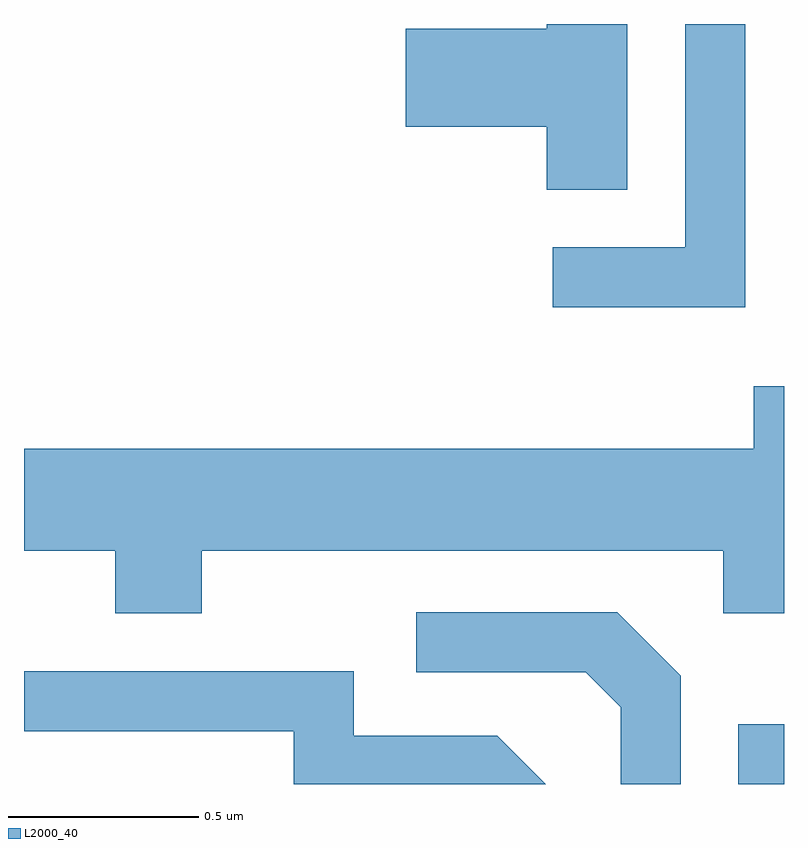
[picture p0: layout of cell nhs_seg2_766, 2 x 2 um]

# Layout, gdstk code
import gdstk
lib = gdstk.Library(unit=1e-6, precision=1e-09)
def R(c, l, rs):  # rectangles x0, y0, x1, y1
    for r in rs: c.add(gdstk.rectangle(r[:2], r[2:], *l))
def P(c, l, *ps):  # polygons
    for p in ps: c.add(gdstk.Polygon(p, *l))
L2000_40 = (2000, 40)

nhs_seg2_766 = lib.new_cell('nhs_seg2_766')
R(nhs_seg2_766, L2000_40, [(192.491,1058.802,192.611,1058.959)])
P(nhs_seg2_766, L2000_40, [(192.509,1060.802),(192.351,1060.802),(192.351,1060.214),(192.003,1060.214),(192.003,1060.056),(192.509,1060.056)],
  [(192.199,1060.802),(191.986,1060.802),(191.986,1060.789),(191.616,1060.789),(191.616,1060.531),(191.986,1060.531),(191.986,1060.366),(192.199,1060.366)],
  [(191.079,1059.416),(192.451,1059.416),(192.451,1059.251),(192.611,1059.251),(192.611,1059.849),(192.531,1059.849),(192.531,1059.684),(190.611,1059.684),(190.611,1059.416),(190.851,1059.416),(190.851,1059.251),(191.079,1059.251)],
  [(192.339,1059.087),(192.172,1059.254),(191.643,1059.254),(191.643,1059.096),(192.089,1059.096),(192.181,1059.004),(192.181,1058.802),(192.339,1058.802)],
  [(191.857,1058.929),(191.479,1058.929),(191.479,1059.099),(190.611,1059.099),(190.611,1058.941),(191.321,1058.941),(191.321,1058.802),(191.984,1058.802)])

lib.write_gds('nhs_seg2_766.gds')
